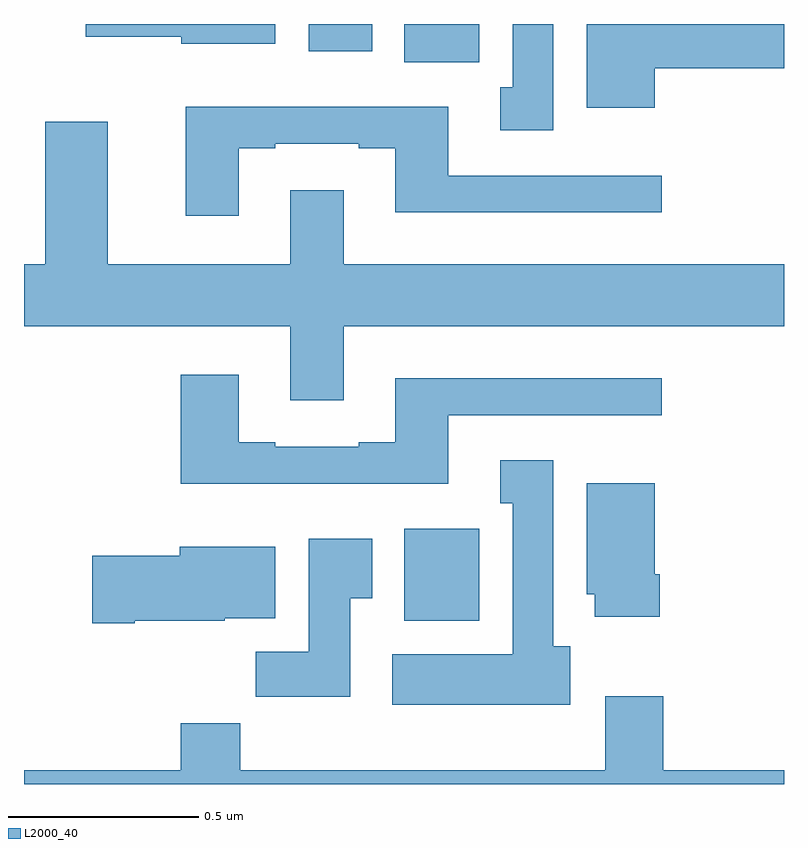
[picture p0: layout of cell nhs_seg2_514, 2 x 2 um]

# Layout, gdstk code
import gdstk
lib = gdstk.Library(unit=1e-6, precision=1e-09)
def R(c, l, rs):  # rectangles x0, y0, x1, y1
    for r in rs: c.add(gdstk.rectangle(r[:2], r[2:], *l))
def P(c, l, *ps):  # polygons
    for p in ps: c.add(gdstk.Polygon(p, *l))
L2000_40 = (2000, 40)

nhs_seg2_514 = lib.new_cell('nhs_seg2_514')
R(nhs_seg2_514, L2000_40, [(118.001,612.23,118.198,612.472), (118.001,613.7,118.198,613.8), (117.749,613.728,117.916,613.8)])
P(nhs_seg2_514, L2000_40, [(118.66,613.684),(119,613.684),(119,613.8),(118.481,613.8),(118.481,613.58),(118.66,613.58)],
  [(117.661,613.8),(117.162,613.8),(117.162,613.766),(117.414,613.766),(117.414,613.748),(117.661,613.748)],
  [(118.393,613.8),(118.286,613.8),(118.286,613.634),(118.253,613.634),(118.253,613.521),(118.393,613.521)],
  [(117.565,613.473),(117.661,613.473),(117.661,613.485),(117.881,613.485),(117.881,613.473),(117.977,613.473),(117.977,613.304),(118.678,613.304),(118.678,613.401),(118.117,613.401),(118.117,613.582),(117.425,613.582),(117.425,613.296),(117.565,613.296)],
  [(117.841,613.004),(119,613.004),(119,613.168),(117.841,613.168),(117.841,613.363),(117.701,613.363),(117.701,613.168),(117.22,613.168),(117.22,613.543),(117.056,613.543),(117.056,613.168),(117,613.168),(117,613.004),(117.701,613.004),(117.701,612.81),(117.841,612.81)],
  [(118.117,612.771),(118.678,612.771),(118.678,612.868),(117.977,612.868),(117.977,612.7),(117.881,612.7),(117.881,612.687),(117.661,612.687),(117.661,612.7),(117.565,612.7),(117.565,612.877),(117.413,612.877),(117.413,612.59),(118.117,612.59)],
  [(118.438,612.162),(118.393,612.162),(118.393,612.652),(118.253,612.652),(118.253,612.539),(118.286,612.539),(118.286,612.142),(117.969,612.142),(117.969,612.008),(118.438,612.008)],
  [(118.673,612.352),(118.66,612.352),(118.66,612.592),(118.481,612.592),(118.481,612.3),(118.502,612.3),(118.502,612.24),(118.673,612.24)],
  [(117.859,612.289),(117.916,612.289),(117.916,612.445),(117.749,612.445),(117.749,612.148),(117.61,612.148),(117.61,612.03),(117.859,612.03)],
  [(117.292,612.23),(117.528,612.23),(117.528,612.236),(117.661,612.236),(117.661,612.424),(117.41,612.424),(117.41,612.401),(117.18,612.401),(117.18,612.223),(117.292,612.223)],
  [(119,611.836),(118.682,611.836),(118.682,612.031),(118.529,612.031),(118.529,611.836),(117.569,611.836),(117.569,611.96),(117.413,611.96),(117.413,611.836),(117,611.836),(117,611.8),(119,611.8)])

lib.write_gds('nhs_seg2_514.gds')
